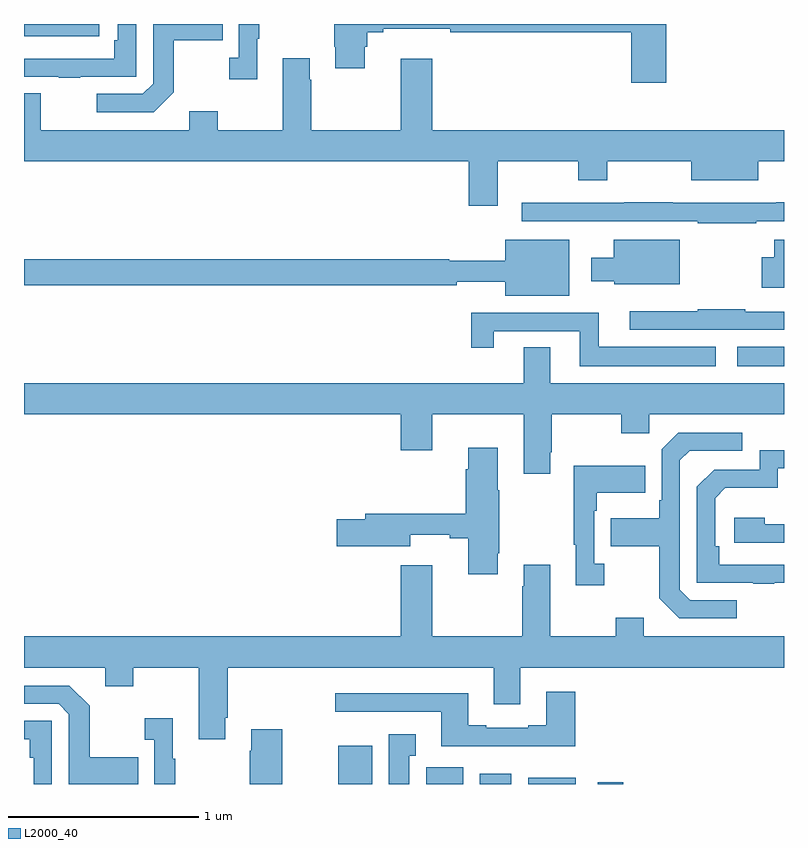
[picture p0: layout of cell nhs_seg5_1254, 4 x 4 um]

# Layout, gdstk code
import gdstk
lib = gdstk.Library(unit=1e-6, precision=1e-09)
def R(c, l, rs):  # rectangles x0, y0, x1, y1
    for r in rs: c.add(gdstk.rectangle(r[:2], r[2:], *l))
def P(c, l, *ps):  # polygons
    for p in ps: c.add(gdstk.Polygon(p, *l))
L2000_40 = (2000, 40)

nhs_seg5_1254 = lib.new_cell('nhs_seg5_1254')
R(nhs_seg5_1254, L2000_40, [(188.654,870.799,188.833,871), (189.117,870.799,189.313,870.888), (189.398,870.799,189.565,870.853), (189.653,870.799,189.904,870.832), (190.02,870.799,190.153,870.809), (190.755,872.999,191,873.1), (187,874.734,187.396,874.799)])
P(nhs_seg5_1254, L2000_40, [(187.295,874.521),(187.59,874.521),(187.59,874.799),(187.494,874.799),(187.494,874.714),(187.474,874.714),(187.474,874.617),(187,874.617),(187,874.521),(187.183,874.521),(187.183,874.516),(187.295,874.516)],
  [(187.789,874.441),(187.789,874.714),(188.045,874.714),(188.045,874.799),(187.68,874.799),(187.68,874.485),(187.626,874.431),(187.383,874.431),(187.383,874.335),(187.683,874.335)],
  [(188.227,874.721),(188.239,874.721),(188.239,874.799),(188.13,874.799),(188.13,874.622),(188.079,874.622),(188.079,874.509),(188.227,874.509)],
  [(190.379,874.799),(188.632,874.799),(188.632,874.678),(188.639,874.678),(188.639,874.566),(188.794,874.566),(188.794,874.679),(188.807,874.679),(188.807,874.756),(188.89,874.756),(188.89,874.775),(189.244,874.775),(189.244,874.756),(190.196,874.756),(190.196,874.491),(190.379,874.491)],
  [(187,874.435),(187,874.076),(189.341,874.076),(189.341,873.843),(189.493,873.843),(189.493,874.076),(189.916,874.076),(189.916,873.977),(190.071,873.977),(190.071,874.076),(190.511,874.076),(190.511,873.977),(190.864,873.977),(190.864,874.076),(191,874.076),(191,874.24),(189.148,874.24),(189.148,874.615),(188.984,874.615),(188.984,874.24),(188.511,874.24),(188.511,874.505),(188.503,874.505),(188.503,874.618),(188.363,874.618),(188.363,874.24),(188.019,874.24),(188.019,874.339),(187.871,874.339),(187.871,874.24),(187.087,874.24),(187.087,874.435)],
  [(190.853,873.762),(191,873.762),(191,873.86),(190.96,873.86),(190.96,873.858),(190.415,873.858),(190.415,873.86),(190.159,873.86),(190.159,873.858),(189.621,873.858),(189.621,873.762),(190.546,873.762),(190.546,873.75),(190.853,873.75)],
  [(189.871,873.664),(189.533,873.664),(189.533,873.553),(189.237,873.553),(189.237,873.56),(187,873.56),(187,873.424),(189.278,873.424),(189.278,873.443),(189.533,873.443),(189.533,873.368),(189.871,873.368)],
  [(191,873.664),(190.949,873.664),(190.949,873.571),(190.884,873.571),(190.884,873.41),(191,873.41)],
  [(190.45,873.664),(190.103,873.664),(190.103,873.568),(189.986,873.568),(189.986,873.446),(190.107,873.446),(190.107,873.428),(190.45,873.428)],
  [(191,873.285),(190.796,873.285),(190.796,873.298),(190.546,873.298),(190.546,873.286),(190.188,873.286),(190.188,873.189),(191,873.189)],
  [(190.642,873.1),(190.024,873.1),(190.024,873.279),(189.355,873.279),(189.355,873.096),(189.472,873.096),(189.472,873.183),(189.926,873.183),(189.926,872.999),(190.642,872.999)],
  [(189.769,872.545),(189.777,872.545),(189.777,872.744),(190.144,872.744),(190.144,872.645),(190.29,872.645),(190.29,872.744),(191,872.744),(191,872.908),(189.769,872.908),(189.769,873.098),(189.629,873.098),(189.629,872.908),(187,872.908),(187,872.744),(188.984,872.744),(188.984,872.556),(189.148,872.556),(189.148,872.744),(189.629,872.744),(189.629,872.433),(189.769,872.433)],
  [(190.75,871.767),(190.506,871.767),(190.452,871.821),(190.452,872.502),(190.503,872.553),(190.78,872.553),(190.78,872.649),(190.443,872.649),(190.356,872.562),(190.356,872.293),(190.344,872.293),(190.344,872.197),(190.087,872.197),(190.087,872.05),(190.344,872.05),(190.344,871.777),(190.449,871.671),(190.75,871.671)],
  [(189.493,872.014),(189.501,872.014),(189.501,872.345),(189.493,872.345),(189.493,872.569),(189.338,872.569),(189.338,872.456),(189.326,872.456),(189.326,872.221),(188.795,872.221),(188.795,872.192),(188.646,872.192),(188.646,872.05),(189.034,872.05),(189.034,872.111),(189.242,872.111),(189.242,872.092),(189.338,872.092),(189.338,871.902),(189.493,871.902)],
  [(190.949,871.857),(191,871.857),(191,871.953),(190.658,871.953),(190.658,872.05),(190.638,872.05),(190.638,872.304),(190.691,872.357),(190.968,872.357),(190.968,872.46),(191,872.46),(191,872.556),(190.872,872.556),(190.872,872.454),(190.632,872.454),(190.542,872.364),(190.542,871.857),(190.837,871.857),(190.837,871.852),(190.949,871.852)],
  [(190.054,871.958),(190.002,871.958),(190.002,872.237),(190.015,872.237),(190.015,872.333),(190.271,872.333),(190.271,872.473),(189.894,872.473),(189.894,872.057),(189.905,872.057),(189.905,871.845),(190.054,871.845)],
  [(191,872.166),(190.898,872.166),(190.898,872.2),(190.737,872.2),(190.737,872.07),(191,872.07)],
  [(188.059,871.147),(188.072,871.147),(188.072,871.412),(189.473,871.412),(189.473,871.218),(189.613,871.218),(189.613,871.412),(191,871.412),(191,871.576),(190.261,871.576),(190.261,871.675),(190.114,871.675),(190.114,871.576),(189.769,871.576),(189.769,871.954),(189.629,871.954),(189.629,871.841),(189.622,871.841),(189.622,871.576),(189.148,871.576),(189.148,871.951),(188.984,871.951),(188.984,871.576),(187,871.576),(187,871.412),(187.427,871.412),(187.427,871.313),(187.575,871.313),(187.575,871.412),(187.919,871.412),(187.919,871.035),(188.059,871.035)],
  [(187.601,870.939),(187.345,870.939),(187.345,871.211),(187.239,871.317),(187,871.317),(187,871.221),(187.182,871.221),(187.236,871.167),(187.236,870.799),(187.601,870.799)],
  [(189.902,871.285),(189.749,871.285),(189.749,871.108),(189.653,871.108),(189.653,871.095),(189.433,871.095),(189.433,871.108),(189.337,871.108),(189.337,871.276),(188.637,871.276),(188.637,871.179),(189.197,871.179),(189.197,870.998),(189.902,870.998)],
  [(187.795,870.931),(187.783,870.931),(187.783,871.144),(187.635,871.144),(187.635,871.031),(187.686,871.031),(187.686,870.799),(187.795,870.799)],
  [(187.146,871.131),(187,871.131),(187,871.035),(187.03,871.035),(187.03,870.938),(187.05,870.938),(187.05,870.799),(187.146,870.799)],
  [(188.358,871.087),(188.195,871.087),(188.195,870.974),(188.188,870.974),(188.188,870.799),(188.358,870.799)],
  [(189.028,870.947),(189.061,870.947),(189.061,871.06),(188.921,871.06),(188.921,870.799),(189.028,870.799)])

lib.write_gds('nhs_seg5_1254.gds')
